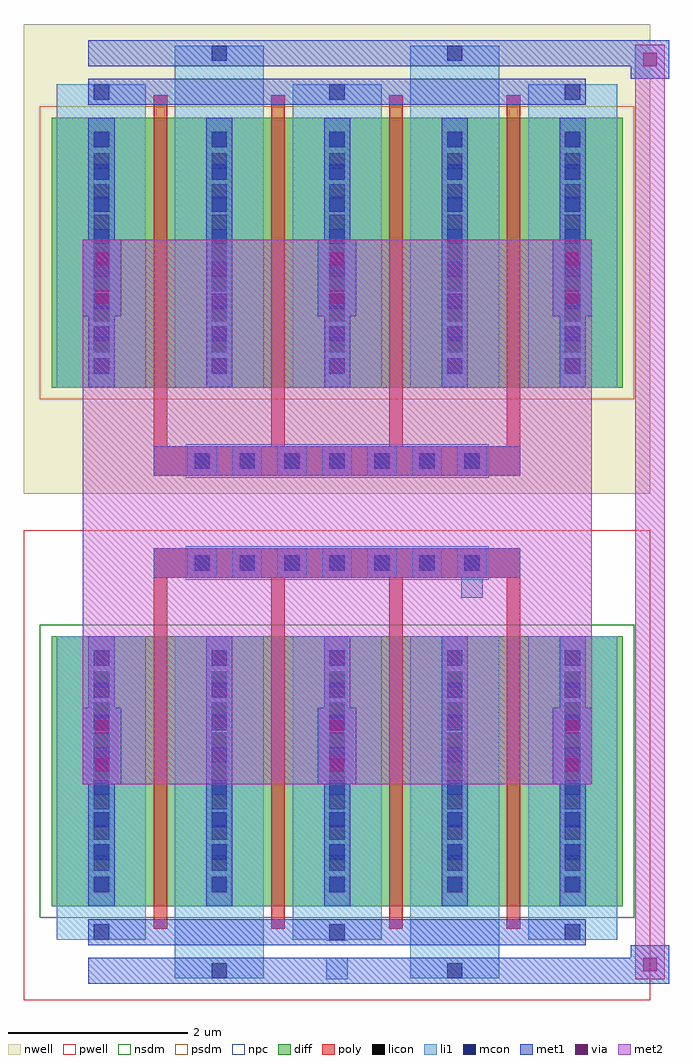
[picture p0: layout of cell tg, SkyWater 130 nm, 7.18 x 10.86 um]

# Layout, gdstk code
import gdstk
lib = gdstk.Library(unit=1e-6, precision=5e-09)
def R(c, l, rs):  # rectangles x0, y0, x1, y1
    for r in rs: c.add(gdstk.rectangle(r[:2], r[2:], *l))
def A(c, l, x, y, w, h, nx, ny, dx, dy):  # array of equal rectangles
    R(c, l, [(x+i*dx, y+j*dy, x+i*dx+w, y+j*dy+h) for i in range(nx) for j in range(ny)])
def P(c, l, *ps):  # polygons
    for p in ps: c.add(gdstk.Polygon(p, *l))
nwell = (64, 20)
pwell = (64, 44)
diff = (65, 20)
poly = (66, 20)
licon = (66, 44)
li1 = (67, 20)
mcon = (67, 44)
met1 = (68, 20)
via = (68, 44)
met2 = (69, 20)
nsdm = (93, 44)
psdm = (94, 20)
npc = (95, 20)

unnamed_800f3d3b = lib.new_cell('Unnamed_800f3d3b')
R(unnamed_800f3d3b, nwell, [(-3.485,-2.61,3.485,2.615)])
R(unnamed_800f3d3b, diff, [(-3.175,-1.43,3.175,1.57)])
A(unnamed_800f3d3b, poly, -1.665, -2.41, 0.33, 0.33, 7, 1, 0.5, 0)
A(unnamed_800f3d3b, poly, -2.04, -2.08, 0.15, 0.4, 4, 1, 1.31, 0)
A(unnamed_800f3d3b, poly, -2.04, -1.68, 0.15, 3.5, 4, 1, 1.31, 0)
R(unnamed_800f3d3b, poly, [(-2.04,-2.41,2.04,-2.08)])
A(unnamed_800f3d3b, licon, -1.585, -2.33, 0.17, 0.17, 7, 1, 0.5, 0)
A(unnamed_800f3d3b, licon, -2.705, -1.035, 0.17, 0.17, 5, 7, 1.31, 0.34)
A(unnamed_800f3d3b, li1, -1.665, -2.41, 0.33, 0.33, 7, 1, 0.5, 0)
A(unnamed_800f3d3b, li1, -3.115, -1.43, 0.99, 3, 5, 1, 1.31, 0)
A(unnamed_800f3d3b, li1, -2.705, -1.275, 0.17, 0.17, 5, 8, 1.31, 0.36)
A(unnamed_800f3d3b, li1, -2.705, -1.275, 0.17, 2.69, 5, 1, 1.31, 0)
A(unnamed_800f3d3b, li1, -2.785, -1.115, 0.33, 0.33, 5, 7, 1.31, 0.34)
A(unnamed_800f3d3b, li1, -3.115, 1.57, 0.99, 0.375, 3, 1, 2.62, 0)
A(unnamed_800f3d3b, li1, -2.705, 1.775, 0.17, 0.17, 3, 1, 2.62, 0)
R(unnamed_800f3d3b, li1, [(-1.805,1.57,-0.815,2.375), (0.815,1.57,1.805,2.375), (-1.395,2.205,-1.225,2.375), (1.225,2.205,1.395,2.375)])
A(unnamed_800f3d3b, mcon, -1.585, -2.33, 0.17, 0.17, 7, 1, 0.5, 0)
A(unnamed_800f3d3b, mcon, -2.705, -1.275, 0.17, 0.17, 5, 8, 1.31, 0.36)
A(unnamed_800f3d3b, mcon, -2.705, 1.775, 0.17, 0.17, 3, 1, 2.62, 0)
R(unnamed_800f3d3b, mcon, [(-1.395,2.205,-1.225,2.375), (1.225,2.205,1.395,2.375)])
A(unnamed_800f3d3b, met1, -1.645, -2.39, 0.29, 0.29, 7, 1, 0.5, 0)
A(unnamed_800f3d3b, met1, -2.765, -1.43, 0.29, 3, 5, 1, 1.31, 0)
A(unnamed_800f3d3b, met1, -2.765, -1.335, 0.29, 0.29, 5, 8, 1.31, 0.36)
A(unnamed_800f3d3b, met1, -2.765, 1.715, 0.29, 0.29, 3, 1, 2.62, 0)
R(unnamed_800f3d3b, met1, [(-2.04,-2.41,2.04,-2.08), (-2.765,1.715,2.765,2.005), (-2.765,2.145,2.765,2.435), (-1.455,2.145,-1.165,2.435), (1.165,2.145,1.455,2.435)])
R(unnamed_800f3d3b, psdm, [(-3.305,-1.56,3.305,1.7)])
A(unnamed_800f3d3b, npc, -1.685, -2.43, 0.37, 0.37, 7, 1, 0.5, 0)
R(unnamed_800f3d3b, npc, [(-1.685,-2.43,-0.815,-2.06), (-1.685,-2.43,-0.815,-2.06), (-1.185,-2.43,-0.315,-2.06), (-1.185,-2.43,-0.315,-2.06), (-0.685,-2.43,0.185,-2.06), (-0.685,-2.43,0.185,-2.06), (-0.185,-2.43,0.685,-2.06), (-0.185,-2.43,0.685,-2.06), (0.315,-2.43,1.185,-2.06), (0.315,-2.43,1.185,-2.06), (0.815,-2.43,1.685,-2.06), (0.815,-2.43,1.685,-2.06)])

unnamed_37d77cf8 = lib.new_cell('Unnamed_37d77cf8')
R(unnamed_37d77cf8, pwell, [(-3.485,-2.61,3.485,2.615)])
R(unnamed_37d77cf8, diff, [(-3.175,-1.43,3.175,1.57)])
A(unnamed_37d77cf8, poly, -1.665, -2.41, 0.33, 0.33, 7, 1, 0.5, 0)
A(unnamed_37d77cf8, poly, -2.04, -2.08, 0.15, 0.4, 4, 1, 1.31, 0)
A(unnamed_37d77cf8, poly, -2.04, -1.68, 0.15, 3.5, 4, 1, 1.31, 0)
R(unnamed_37d77cf8, poly, [(-2.04,-2.41,2.04,-2.08)])
A(unnamed_37d77cf8, licon, -1.585, -2.33, 0.17, 0.17, 7, 1, 0.5, 0)
A(unnamed_37d77cf8, licon, -2.705, -1.035, 0.17, 0.17, 5, 7, 1.31, 0.34)
A(unnamed_37d77cf8, li1, -1.665, -2.41, 0.33, 0.33, 7, 1, 0.5, 0)
A(unnamed_37d77cf8, li1, -3.115, -1.43, 0.99, 3, 5, 1, 1.31, 0)
A(unnamed_37d77cf8, li1, -2.705, -1.275, 0.17, 0.17, 5, 8, 1.31, 0.36)
A(unnamed_37d77cf8, li1, -2.705, -1.275, 0.17, 2.69, 5, 1, 1.31, 0)
A(unnamed_37d77cf8, li1, -2.785, -1.115, 0.33, 0.33, 5, 7, 1.31, 0.34)
A(unnamed_37d77cf8, li1, -3.115, 1.57, 0.99, 0.375, 3, 1, 2.62, 0)
A(unnamed_37d77cf8, li1, -2.705, 1.775, 0.17, 0.17, 3, 1, 2.62, 0)
R(unnamed_37d77cf8, li1, [(-1.805,1.57,-0.815,2.375), (0.815,1.57,1.805,2.375), (-1.395,2.205,-1.225,2.375), (1.225,2.205,1.395,2.375)])
A(unnamed_37d77cf8, mcon, -1.585, -2.33, 0.17, 0.17, 7, 1, 0.5, 0)
A(unnamed_37d77cf8, mcon, -2.705, -1.275, 0.17, 0.17, 5, 8, 1.31, 0.36)
A(unnamed_37d77cf8, mcon, -2.705, 1.775, 0.17, 0.17, 3, 1, 2.62, 0)
R(unnamed_37d77cf8, mcon, [(-1.395,2.205,-1.225,2.375), (1.225,2.205,1.395,2.375)])
A(unnamed_37d77cf8, met1, -1.645, -2.39, 0.29, 0.29, 7, 1, 0.5, 0)
A(unnamed_37d77cf8, met1, -2.765, -1.43, 0.29, 3, 5, 1, 1.31, 0)
A(unnamed_37d77cf8, met1, -2.765, -1.335, 0.29, 0.29, 5, 8, 1.31, 0.36)
A(unnamed_37d77cf8, met1, -2.765, 1.715, 0.29, 0.29, 3, 1, 2.62, 0)
R(unnamed_37d77cf8, met1, [(-2.04,-2.41,2.04,-2.08), (-2.765,1.715,2.765,2.005), (-2.765,2.145,2.765,2.435), (-1.455,2.145,-1.165,2.435), (1.165,2.145,1.455,2.435)])
R(unnamed_37d77cf8, nsdm, [(-3.305,-1.56,3.305,1.7)])
A(unnamed_37d77cf8, npc, -1.685, -2.43, 0.37, 0.37, 7, 1, 0.5, 0)
R(unnamed_37d77cf8, npc, [(-1.685,-2.43,-0.815,-2.06), (-1.685,-2.43,-0.815,-2.06), (-1.185,-2.43,-0.315,-2.06), (-1.185,-2.43,-0.315,-2.06), (-0.685,-2.43,0.185,-2.06), (-0.685,-2.43,0.185,-2.06), (-0.185,-2.43,0.685,-2.06), (-0.185,-2.43,0.685,-2.06), (0.315,-2.43,1.185,-2.06), (0.315,-2.43,1.185,-2.06), (0.815,-2.43,1.685,-2.06), (0.815,-2.43,1.685,-2.06)])

via_stack_1db31e69 = lib.new_cell('via_stack_1db31e69')
R(via_stack_1db31e69, met1, [(-0.215,-0.215,0.215,0.215)])
R(via_stack_1db31e69, via, [(-0.075,-0.075,0.075,0.075)])
R(via_stack_1db31e69, met2, [(-0.165,-0.165,0.165,0.165)])

via_stack_1db31e69_1 = lib.new_cell('via_stack_1db31e69$1')
R(via_stack_1db31e69_1, met1, [(-0.215,-0.215,0.215,0.215)])
R(via_stack_1db31e69_1, via, [(-0.075,-0.075,0.075,0.075)])
R(via_stack_1db31e69_1, met2, [(-0.165,-0.165,0.165,0.165)])

via_stack_1db31e69_2 = lib.new_cell('via_stack_1db31e69$2')
R(via_stack_1db31e69_2, met1, [(-0.215,-0.215,0.215,0.215)])
R(via_stack_1db31e69_2, via, [(-0.075,-0.075,0.075,0.075)])
R(via_stack_1db31e69_2, met2, [(-0.165,-0.165,0.165,0.165)])

via_stack_1db31e69_3 = lib.new_cell('via_stack_1db31e69$3')
R(via_stack_1db31e69_3, met1, [(-0.215,-0.215,0.215,0.215)])
R(via_stack_1db31e69_3, via, [(-0.075,-0.075,0.075,0.075)])
R(via_stack_1db31e69_3, met2, [(-0.165,-0.165,0.165,0.165)])

via_stack_1db31e69_4 = lib.new_cell('via_stack_1db31e69$4')
R(via_stack_1db31e69_4, met1, [(-0.215,-0.215,0.215,0.215)])
R(via_stack_1db31e69_4, via, [(-0.075,-0.075,0.075,0.075)])
R(via_stack_1db31e69_4, met2, [(-0.165,-0.165,0.165,0.165)])

via_stack_1db31e69_5 = lib.new_cell('via_stack_1db31e69$5')
R(via_stack_1db31e69_5, met1, [(-0.215,-0.215,0.215,0.215)])
R(via_stack_1db31e69_5, via, [(-0.075,-0.075,0.075,0.075)])
R(via_stack_1db31e69_5, met2, [(-0.165,-0.165,0.165,0.165)])

via_stack_1db31e69_6 = lib.new_cell('via_stack_1db31e69$6')
R(via_stack_1db31e69_6, met1, [(-0.215,-0.215,0.215,0.215)])
R(via_stack_1db31e69_6, via, [(-0.075,-0.075,0.075,0.075)])
R(via_stack_1db31e69_6, met2, [(-0.165,-0.165,0.165,0.165)])

via_stack_1db31e69_7 = lib.new_cell('via_stack_1db31e69$7')
R(via_stack_1db31e69_7, met1, [(-0.215,-0.215,0.215,0.215)])
R(via_stack_1db31e69_7, via, [(-0.075,-0.075,0.075,0.075)])
R(via_stack_1db31e69_7, met2, [(-0.165,-0.165,0.165,0.165)])

via_stack_1db31e69_8 = lib.new_cell('via_stack_1db31e69$8')
R(via_stack_1db31e69_8, met1, [(-0.215,-0.215,0.215,0.215)])
R(via_stack_1db31e69_8, via, [(-0.075,-0.075,0.075,0.075)])
R(via_stack_1db31e69_8, met2, [(-0.165,-0.165,0.165,0.165)])

via_stack_1db31e69_9 = lib.new_cell('via_stack_1db31e69$9')
R(via_stack_1db31e69_9, met1, [(-0.215,-0.215,0.215,0.215)])
R(via_stack_1db31e69_9, via, [(-0.075,-0.075,0.075,0.075)])
R(via_stack_1db31e69_9, met2, [(-0.165,-0.165,0.165,0.165)])

via_stack_1db31e69_10 = lib.new_cell('via_stack_1db31e69$10')
R(via_stack_1db31e69_10, met1, [(-0.215,-0.215,0.215,0.215)])
R(via_stack_1db31e69_10, via, [(-0.075,-0.075,0.075,0.075)])
R(via_stack_1db31e69_10, met2, [(-0.165,-0.165,0.165,0.165)])

via_stack_1db31e69_11 = lib.new_cell('via_stack_1db31e69$11')
R(via_stack_1db31e69_11, met1, [(-0.215,-0.215,0.215,0.215)])
R(via_stack_1db31e69_11, via, [(-0.075,-0.075,0.075,0.075)])
R(via_stack_1db31e69_11, met2, [(-0.165,-0.165,0.165,0.165)])

unnamed_6de3f052 = lib.new_cell('Unnamed_6de3f052')
R(unnamed_6de3f052, met2, [(-2.83,-0.215,2.83,5.84)])

c_route_0c11372a = lib.new_cell('c_route_0c11372a')
R(c_route_0c11372a, met1, [(2.765,-2.435,3.695,-2.145), (3.265,-2.435,3.695,-2.005), (3.265,7.63,3.695,8.06), (2.765,7.77,3.695,8.06)])
R(c_route_0c11372a, via, [(3.405,-2.295,3.555,-2.145), (3.405,7.77,3.555,7.92)])
R(c_route_0c11372a, met2, [(3.315,-2.385,3.645,-2.055), (3.315,-2.385,3.645,8.01), (3.315,7.68,3.645,8.01)])
P(c_route_0c11372a, met2, [(3.645,-2.385),(3.645,-2.385),(3.645,-2.055),(3.645,-2.055)],
  [(3.645,7.68),(3.645,7.68),(3.645,8.01),(3.645,8.01)])

compass_45394bd3 = lib.new_cell('compass_45394bd3')
R(compass_45394bd3, li1, [(-0.12,-0.12,0.12,0.12)])

unnamed_c675cf57 = lib.new_cell('Unnamed_c675cf57')
unnamed_c675cf57.add(gdstk.Reference(compass_45394bd3, (0,0)))
unnamed_c675cf57.add(gdstk.Label('A', (0,0), layer=67, texttype=5))

compass_45394bd3_1 = lib.new_cell('compass_45394bd3$1')
R(compass_45394bd3_1, li1, [(-0.12,-0.12,0.12,0.12)])

unnamed_c1e83611 = lib.new_cell('Unnamed_c1e83611')
unnamed_c1e83611.add(gdstk.Reference(compass_45394bd3_1, (0,0)))
unnamed_c1e83611.add(gdstk.Label('Y', (0,0), layer=67, texttype=5))

compass_45394bd3_2 = lib.new_cell('compass_45394bd3$2')
R(compass_45394bd3_2, li1, [(-0.12,-0.12,0.12,0.12)])

unnamed_2d9ba0b2 = lib.new_cell('Unnamed_2d9ba0b2')
unnamed_2d9ba0b2.add(gdstk.Reference(compass_45394bd3_2, (0,0)))
unnamed_2d9ba0b2.add(gdstk.Label('C', (0,0), layer=67, texttype=5))

compass_45394bd3_3 = lib.new_cell('compass_45394bd3$3')
R(compass_45394bd3_3, li1, [(-0.12,-0.12,0.12,0.12)])

unnamed_5f4bea46 = lib.new_cell('Unnamed_5f4bea46')
unnamed_5f4bea46.add(gdstk.Reference(compass_45394bd3_3, (0,0)))
unnamed_5f4bea46.add(gdstk.Label('CBAR', (0,0), layer=67, texttype=5))

c_tg = lib.new_cell('tg')
c_tg.add(gdstk.Reference(unnamed_800f3d3b, (0,5.625)))
c_tg.add(gdstk.Reference(unnamed_37d77cf8, (0,0), x_reflection=True))
c_tg.add(gdstk.Reference(via_stack_1db31e69, (0,5.625)))
c_tg.add(gdstk.Reference(via_stack_1db31e69_1, (-2.615,5.625)))
c_tg.add(gdstk.Reference(via_stack_1db31e69_2, (2.615,5.625)))
c_tg.add(gdstk.Reference(via_stack_1db31e69_3, (0,5.205)))
c_tg.add(gdstk.Reference(via_stack_1db31e69_4, (-2.615,5.205)))
c_tg.add(gdstk.Reference(via_stack_1db31e69_5, (2.615,5.205)))
c_tg.add(gdstk.Reference(via_stack_1db31e69_6, (0,0)))
c_tg.add(gdstk.Reference(via_stack_1db31e69_7, (-2.615,0)))
c_tg.add(gdstk.Reference(via_stack_1db31e69_8, (2.615,0)))
c_tg.add(gdstk.Reference(via_stack_1db31e69_9, (0,0.42)))
c_tg.add(gdstk.Reference(via_stack_1db31e69_10, (-2.615,0.42)))
c_tg.add(gdstk.Reference(via_stack_1db31e69_11, (2.615,0.42)))
c_tg.add(gdstk.Reference(unnamed_6de3f052, (0,0)))
c_tg.add(gdstk.Reference(c_route_0c11372a, (0,0)))
c_tg.add(gdstk.Reference(unnamed_c675cf57, (0,-1.835)))
c_tg.add(gdstk.Reference(unnamed_c1e83611, (0,-2.265)))
c_tg.add(gdstk.Reference(unnamed_2d9ba0b2, (1.5,1.98)))
c_tg.add(gdstk.Reference(unnamed_5f4bea46, (1.5,3.405)))

lib.write_gds('tg.gds')
